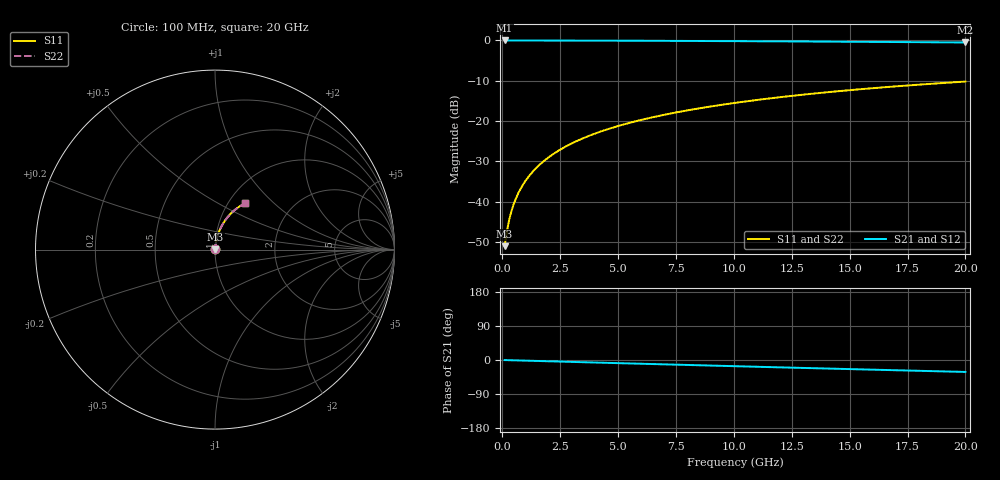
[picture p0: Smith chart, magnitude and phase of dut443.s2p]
! Touchstone file exported from HFSS 2026.1.0
!  File:  C:/ffzhzh/LocalFiles/Ansys_Project_Files/temp_train_TMRDL_443_1783005676_53980.aedt
!  Generated:  11:22:33 PM Jul  2, 2026
!  Design:  TMRDL
!  Project:  temp_train_TMRDL_443_1783005676_53980
! Variables:
!  h_bsmrdl = 2um
!  h_ox = 20um
!  h_rdl = 5um
!  h_sub = 80um
!  h_tmrdl = 4.68um
!  h_tsv = 80um
!  h_via = 3um
!  l_bsmrdl = 300um
!  l_sub = 841.73um
!  l_tmrdl = 441.73um
!  m_sub = 200um
!  pitch = 42.85um
!  r_tsv = 6um
!  s_tmrdl = 10um
!  w_bsmrdl = 18um
!  w_sub = 500um
!  w_tmrdl = 17.15um
!  x_tsv_center1 = 450.305um
!  x_tsv_center2 = 768.305um
!  x_tsv_center3 = 1227.185um
!  x_tsv_center4 = 1545.185um
!  x_tsv_center5 = 2004.065um
!  x_tsv_center6 = 2322.065um
# GHz S MA R 50.000000
! Terminal data exported
! Port[1] = TM_RDL1_1_T1
! Port[2] = TM_RDL1_1_T2
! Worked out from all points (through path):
!   200 points, 100 MHz to 20 GHz, reference 50 ohm
!   highest |S21| = -0.02 dB at 100 MHz (marker M1); lowest = -0.5 dB at 20 GHz (marker M2)
!   group delay of S21, straight-line fit = 4.37 ps
!   lowest |S11| = -51.0 dB at 100 MHz (marker M3), VSWR 1.01, Z = 50.2 + j0.19 ohm
!   |S11| at or under -10 dB: start of sweep to end of sweep
!   |S22| runs from -51.0 to -10.2 dB; largest |S21 - S12| = 2.6e-15
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0.1  0.002817 42.3  0.9979 -0.2  0.9979 -0.2  0.002817 42.3
! Gamma 0 0 0 0
! Port Impedance 50 0 50 0
0.2  0.004341 59.9  0.9978 -0.3  0.9978 -0.3  0.004341 59.9
0.3  0.006026 67.6  0.9977 -0.5  0.9977 -0.5  0.006026 67.6
0.4  0.00774 71.8  0.9976 -0.7  0.9976 -0.7  0.007741 71.8
0.5  0.00946 74.4  0.9976 -0.9  0.9976 -0.9  0.009462 74.4
0.6  0.01118 76.2  0.9975 -1.0  0.9975 -1.0  0.01119 76.2
0.8  0.01464 78.6  0.9974 -1.4  0.9974 -1.4  0.01464 78.6
1.1  0.01986 80.4  0.9972 -1.9  0.9972 -1.9  0.01986 80.4
1.5  0.02683 81.4  0.9969 -2.5  0.9969 -2.5  0.02683 81.4
1.8  0.03207 81.7  0.9966 -3.0  0.9966 -3.0  0.03207 81.7
2.1  0.03729 81.8  0.9963 -3.5  0.9963 -3.5  0.03729 81.8
2.7  0.0477 81.5  0.9956 -4.5  0.9956 -4.5  0.0477 81.5
3.5  0.06146 80.6  0.9944 -5.9  0.9944 -5.9  0.06146 80.6
4.2  0.07337 79.8  0.9932 -7.0  0.9932 -7.0  0.07337 79.8
5  0.08682 78.7  0.9916 -8.3  0.9916 -8.3  0.08682 78.7
5.9  0.1018 77.4  0.9897 -9.8  0.9897 -9.8  0.1018 77.4
6.8  0.1165 76.1  0.9877 -11.2  0.9877 -11.2  0.1165 76.0
8.3  0.1406 73.8  0.9839 -13.6  0.9839 -13.6  0.1406 73.8
10.1  0.1689 71.2  0.9787 -16.5  0.9787 -16.5  0.1689 71.2
13.4  0.2186 66.3  0.9679 -21.6  0.9679 -21.6  0.2186 66.3
16.7  0.2653 61.5  0.9555 -26.6  0.9555 -26.6  0.2654 61.5
20  0.3088 56.8  0.942 -31.5  0.942 -31.5  0.3088 56.8
